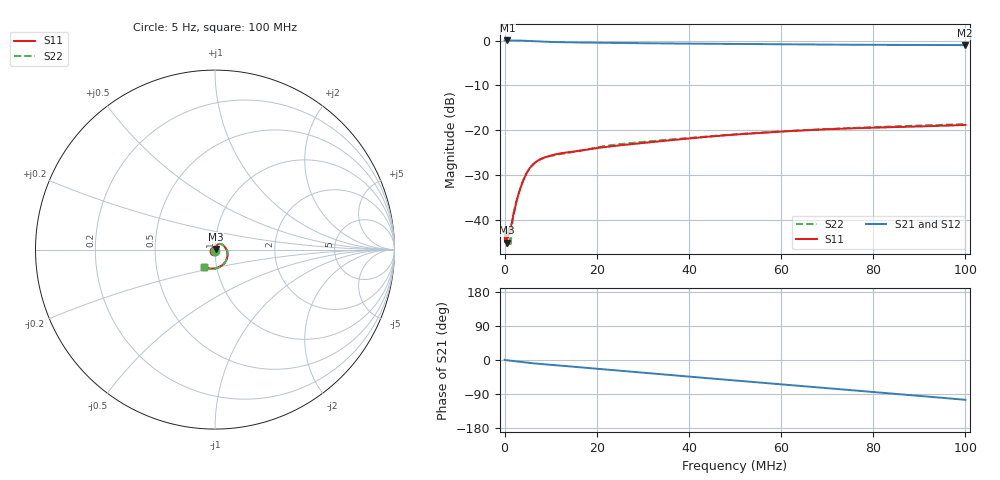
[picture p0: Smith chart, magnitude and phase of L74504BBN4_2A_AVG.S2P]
!Agilent Technologies,E5061B,MY49102235,A.02.00
!Date: Tue Jul 11 16:34:33 2023
!Data & Calibration Information:
!Freq	S11:SOLT2(ON)	S21:SOLT2(ON)	S12:SOLT2(ON)	S22:SOLT2(ON)
# Hz S RI R 50
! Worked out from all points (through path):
!   1600 points, 5 Hz to 100 MHz, reference 50 ohm
!   highest |S21| = 0.02 dB at 625.4 kHz (marker M1); lowest = -1.0 dB at 99.81 MHz (marker M2)
!   group delay of S21, straight-line fit = 2.86 ns
!   lowest |S11| = -45.2 dB at 500.3 kHz (marker M3), VSWR 1.01, Z = 50.5 + j0.292 ohm
!   |S11| at or under -10 dB: start of sweep to end of sweep
!   |S22| runs from -45.9 to -18.7 dB; largest |S21 - S12| = 0.0026
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5  -0.00523 -0.00563  1.002 0.00801  1 0.0102  -0.00149 -0.00753
500317.7  0.00471 0.00289  1.001 -0.0111  1.001 -0.011  0.00495 0.0013
625395.8  0.00525 0.00357  1.002 -0.0147  1.002 -0.0143  0.00627 0.00317
938091.3  0.00465 0.00586  1.001 -0.0213  1.001 -0.0211  0.00623 0.00528
1313326  0.00503 0.0066  1.001 -0.0302  1.001 -0.0305  0.00323 0.00505
1688560  0.00465 0.0087  0.9997 -0.0406  1.001 -0.0408  0.00437 0.00786
2063795  0.0043 0.0117  1 -0.0501  0.9997 -0.0505  0.00474 0.0115
2376490  0.00491 0.0135  0.9983 -0.0578  0.9987 -0.0582  0.00556 0.0138
2939342  0.00701 0.0174  0.9968 -0.0723  0.9963 -0.0724  0.00598 0.0178
3439655  0.00878 0.0209  0.9943 -0.0851  0.9946 -0.0852  0.00766 0.0213
4565358  0.0149 0.0276  0.9865 -0.1132  0.9863 -0.113  0.0146 0.028
5816140  0.0246 0.0313  0.9748 -0.1405  0.9746 -0.1407  0.024 0.0314
7504695  0.0357 0.0298  0.9592 -0.1711  0.9591 -0.1712  0.0355 0.0304
9380868  0.0441 0.0255  0.9449 -0.2022  0.9446 -0.202  0.0437 0.0256
1.669794e7  0.0587 0.00848  0.8952 -0.3178  0.895 -0.3176  0.0585 0.00831
2.345216e7  0.066 -0.00486  0.8423 -0.4214  0.8421 -0.4211  0.068 -0.00609
3.333334e7  0.0695 -0.0276  0.7441 -0.5583  0.7441 -0.5581  0.0707 -0.0289
5.003127e7  0.058 -0.0677  0.5366 -0.7399  0.5366 -0.7397  0.0579 -0.0688
6.672921e7  0.0227 -0.0978  0.2936 -0.8529  0.2938 -0.8529  0.0235 -0.0983
8.33646e7  -0.0203 -0.1058  0.033 -0.8942  0.0329 -0.8943  -0.0199 -0.1077
9.981238e7  -0.0616 -0.0961  -0.2275 -0.8595  -0.2275 -0.8597  -0.0617 -0.0988
1e8  -0.0622 -0.096  -0.2305 -0.8587  -0.2304 -0.8588  -0.0621 -0.0988
